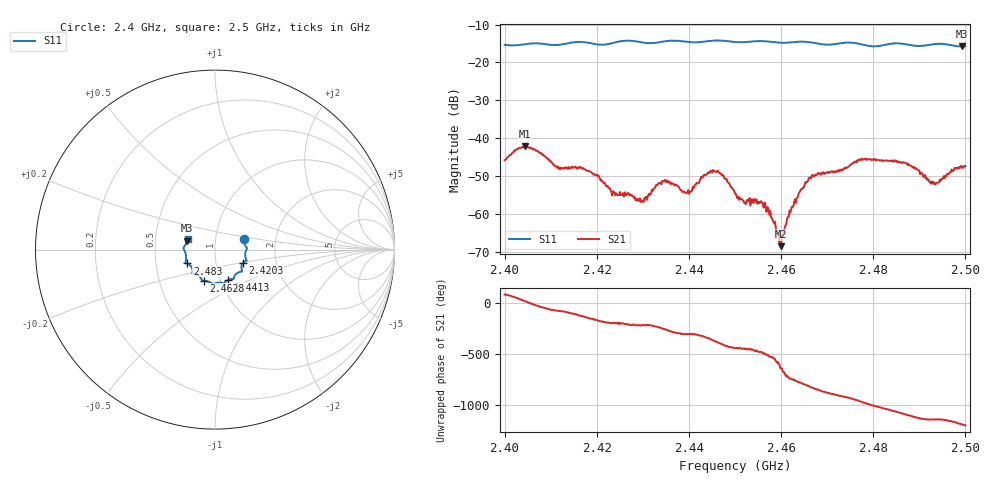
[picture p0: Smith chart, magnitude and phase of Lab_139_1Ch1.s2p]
# Hz S RI R 50
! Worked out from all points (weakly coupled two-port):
!   601 points, 2.4 GHz to 2.5 GHz, reference 50 ohm
!   highest |S21| = -42.22 dB at 2.4043 GHz (marker M1); lowest = -68.6 dB at 2.46 GHz (marker M2)
!   lowest |S11| = -15.8 dB at 2.4993 GHz (marker M3), VSWR 1.39, Z = 36.5 + j3.73 ohm
!   |S11| at or under -10 dB: start of sweep to end of sweep
!   S12 and S22 are empty: the file has one direction only
!   S11 on the Smith chart (normalised r, x): 2.4 GHz: 1.37, +0.16; 2.4203 GHz: 1.35, -0.21; 2.4413 GHz: 1.09, -0.38; 2.4628 GHz: 0.83, -0.30; 2.483 GHz: 0.72, -0.11; 2.5 GHz: 0.73, +0.09
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2.4e9  0.1611 0.0567  0.000581 0.00506  0 0  0 0
2.404333e9  0.1728 0.0162  0.00729 0.00261  0 0  0 0
2.4115e9  0.1679 -0.0265  0.00105 -0.00409  0 0  0 0
2.416667e9  0.1759 -0.0614  -0.00243 -0.00327  0 0  0 0
2.420333e9  0.1553 -0.0741  -0.00318 -0.000452  0 0  0 0
2.423667e9  0.1477 -0.1055  -0.00189 0.000432  0 0  0 0
2.429667e9  0.1355 -0.1249  -0.00116 0.000954  0 0  0 0
2.433333e9  0.108 -0.1483  -0.00146 0.00206  0 0  0 0
2.439167e9  0.0928 -0.1636  0.00116 0.0015  0 0  0 0
2.441333e9  0.0743 -0.1683  0.00139 0.00196  0 0  0 0
2.445833e9  0.0497 -0.1883  0.00341 -0.00103  0 0  0 0
2.45e9  0.0293 -0.1837  0.000235 -0.00184  0 0  0 0
2.456e9  -0.0125 -0.1906  -0.000801 -0.00114  0 0  0 0
2.46e9  -0.0391 -0.1772  6.28e-05 0.000367  0 0  0 0
2.462833e9  -0.063 -0.1745  0.00123 -0.000689  0 0  0 0
2.466667e9  -0.0742 -0.1675  -0.000962 -0.00302  0 0  0 0
2.477167e9  -0.1243 -0.1229  -0.00224 0.00474  0 0  0 0
2.483e9  -0.1548 -0.077  0.00396 0.00314  0 0  0 0
2.483333e9  -0.157 -0.0759  0.00413 0.00286  0 0  0 0
2.493e9  -0.1739 0.00082  0.00116 -0.00238  0 0  0 0
2.499333e9  -0.1545 0.0498  -0.00137 -0.00388  0 0  0 0
2.5e9  -0.1528 0.0587  -0.00215 -0.00368  0 0  0 0
